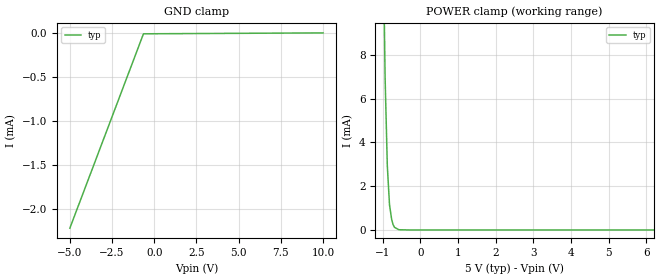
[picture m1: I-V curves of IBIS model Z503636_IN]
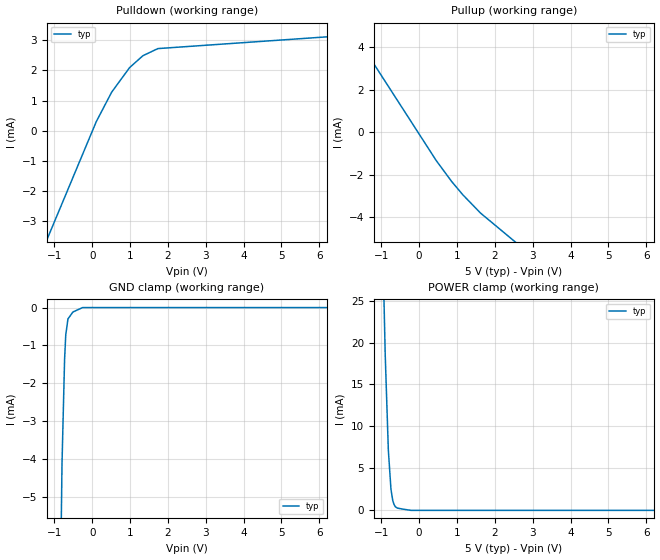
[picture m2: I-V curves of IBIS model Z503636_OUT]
| YOU ARE ONLY AUTHORIZED TO USE THIS SOFTWARE
| ACCORDING TO LICENSOR'S LICENSE RESTRICTIONS.
[IBIS Ver] 3.1
[File Name] mc14520bcl.ibs
[File Rev] 2.0
[Source] Measured and created by ICX Technology
[Date] Friday 7/14/00 9:07:56 AM
[Copyright]
| (C) COPYRIGHT 1993-2000
| MENTOR GRAPHICS CORPORATION
| ICX STANDARD LIBRARY, ICX PROJECT MODELING,
| ICX CUSTOM MODELING, ICX VENDOR MODEL
| ALL RIGHTS RESERVED.
| THE FOLLOWING ARE TRADEMARKS OR SERVICE MARKS OF
| MENTOR GRAPHICS CORPORATION:ICX (R), ICX STANDARD
| LIBRARY(R), ICX PROJECT MODELING(R), ICX CUSTOM
| MODELING(R), qualityIBIS(TM), MODELVIEWER(TM),
| AND MODELEDITOR(TM)
| ALL COPIES OF SOFTWARE, INCLUDING BUT NOT LIMITED TO
| ANY MODIFICATIONS, ENHANCEMENTS OR DERIVATIVE WORKS,
| MUST CONTAIN ALL MENTOR GRAPHICS CORPORATION'S
| NOTICES AND LEGENDS, INCLUDING THOSE EMBEDDED IN
| SOFTWARE AND THOSE AFFIXED TO SOFTWARE MEDIUM
| AND CONTAINER, AS RECEIVED FROM MENTOR GRAPHICS
| CORPORATION.
|  ZAP Model Builder 2.7
[Component] MC14520BCL
[Manufacturer] OnSemiconductor
[Package]
| variable   typ   min   max
R_pkg  .212ohms NA NA
L_pkg  4.758nH NA NA
C_pkg  1.944pF NA NA
[Pin] signal_name  model_name  R_pin  L_pin C_pin
1 Q2 Z503636_IN .224 7.258n 2.683p
2 RESET Z503636_IN .216 5.258n 2.19p
3 VSS Z503636_OUT .208 3.758n 1.697p
4 OUT2 Z503636_OUT .2 2.758n 1.204p
5 VDD Z503636_OUT .2 2.758n 1.204p
6 IN2 Z503636_OUT .208 3.758n 1.697p
7 OUT1 Z503636_IN .216 5.258n 2.19p
8 VSS POWER .224 7.258n 2.683p
9 IN1 Z503636_IN .224 7.258n 2.683p
10 Q8 Z503636_IN .216 5.258n 2.19p
11 Q9 Z503636_OUT .208 3.758n 1.697p
12 Q0 Z503636_OUT .2 2.758n 1.204p
13 Q1 Z503636_OUT .2 2.758n 1.204p
14 Q2 Z503636_OUT .208 3.758n 1.697p
15 Q3 Z503636_IN .216 5.258n 2.19p
16 VDD POWER .224 7.258n 2.683p
| Models and submodels in the file (2): Z503636_IN (Input), Z503636_OUT (Output)
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| (C) COPYRIGHT 1993-2000
| MENTOR GRAPHICS CORPORATION
| ICX STANDARD LIBRARY, ICX PROJECT MODELING,
| ICX CUSTOM MODELING, ICX VENDOR MODEL
| ALL RIGHTS RESERVED.
| THE FOLLOWING ARE TRADEMARKS OR SERVICE MARKS OF
| MENTOR GRAPHICS CORPORATION:ICX (R), ICX STANDARD
| LIBRARY(R), ICX PROJECT MODELING(R), ICX CUSTOM
| MODELING(R), qualityIBIS(TM), MODELVIEWER(TM),
| AND MODELEDITOR(TM)
| ALL COPIES OF SOFTWARE, INCLUDING BUT NOT LIMITED TO
| ANY MODIFICATIONS, ENHANCEMENTS OR DERIVATIVE WORKS,
| MUST CONTAIN ALL MENTOR GRAPHICS CORPORATION'S
| NOTICES AND LEGENDS, INCLUDING THOSE EMBEDDED IN
| SOFTWARE AND THOSE AFFIXED TO SOFTWARE MEDIUM
| AND CONTAINER, AS RECEIVED FROM MENTOR GRAPHICS
| CORPORATION.
| Model Application Version 1.89 2/18/99.
[Model] Z503636_IN
Model_type Input
Vinl = 1.500V
Vinh = 3.500V
C_comp 4.000pF NA NA
| variable typ   min   max
[Voltage Range] 5.000V NA NA
[GND Clamp Reference] 0.000V NA NA
[POWER Clamp Reference] 5.000V NA NA
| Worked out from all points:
|   POWER clamp passes 1 mA (typ) near -0.81 V on its own axis
[GND Clamp]
-5V       -2.222mA   NA         NA
-639.5mV  -11.77uA   NA         NA
10V       -1.359uA   NA         NA
[POWER Clamp]
-5V       526.8mA    NA         NA
-938mV    6.994mA    NA         NA
-879mV    2.94mA     NA         NA
-820mV    1.141mA    NA         NA
-762mV    472.1uA    NA         NA
-725mV    242.2uA    NA         NA
-688mV    119.9uA    NA         NA
-572mV    11.04uA    NA         NA
-286mV    0A         NA         NA
10V       0A         NA         NA
| (C) COPYRIGHT 1993-2000
| MENTOR GRAPHICS CORPORATION
| ICX STANDARD LIBRARY, ICX PROJECT MODELING,
| ICX CUSTOM MODELING, ICX VENDOR MODEL
| ALL RIGHTS RESERVED.
| THE FOLLOWING ARE TRADEMARKS OR SERVICE MARKS OF
| MENTOR GRAPHICS CORPORATION:ICX (R), ICX STANDARD
| LIBRARY(R), ICX PROJECT MODELING(R), ICX CUSTOM
| MODELING(R), qualityIBIS(TM), MODELVIEWER(TM),
| AND MODELEDITOR(TM)
| ALL COPIES OF SOFTWARE, INCLUDING BUT NOT LIMITED TO
| ANY MODIFICATIONS, ENHANCEMENTS OR DERIVATIVE WORKS,
| MUST CONTAIN ALL MENTOR GRAPHICS CORPORATION'S
| NOTICES AND LEGENDS, INCLUDING THOSE EMBEDDED IN
| SOFTWARE AND THOSE AFFIXED TO SOFTWARE MEDIUM
| AND CONTAINER, AS RECEIVED FROM MENTOR GRAPHICS
| CORPORATION.
| Model Application Version 1.89 2/18/99.
[Model] Z503636_OUT
Model_type Output
Vref=0.000V
Rref=500.0Mohms
Cref=50.00pF
Vmeas=2.500V
C_comp 8.000pF NA NA
| variable typ   min   max
[Voltage Range] 5.000V NA NA
[POWER Clamp Reference] 5.000V NA NA
[Pullup Reference] 5.000V NA NA
[Pulldown Reference] 0.000V NA NA
[GND Clamp Reference] 0.000V NA NA
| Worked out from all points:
|   slope of the pulldown table from 0 to 0.75 V, typ, clamps not added: 441 ohm
|   slope of the pullup table from 0 to 0.75 V, typ, clamps not added: 380 ohm
|   GND clamp passes 1 mA (typ) near -0.71 V on its own axis
|   POWER clamp passes 1 mA (typ) near -0.69 V on its own axis
[GND Clamp]
-5V       -335.4mA   NA         NA
-800.7mV  -4.122mA   NA         NA
-732.4mV  -1.362mA   NA         NA
-701.7mV  -725.2uA   NA         NA
-643.9mV  -300.8uA   NA         NA
-512.7mV  -116.9uA   NA         NA
-256.4mV  0A         NA         NA
10V       0A         NA         NA
[Pulldown]
-5V       -15.03mA   NA         NA
103.7mV   295.4uA    NA         NA
512.8mV   1.279mA    NA         NA
986.3mV   2.092mA    NA         NA
1.338V    2.486mA    NA         NA
1.734V    2.722mA    NA         NA
10V       3.443mA    NA         NA
[Pullup]
-5V       13.73mA    NA         NA
451mV     -1.343mA   NA         NA
859mV     -2.331mA   NA         NA
1.153V    -2.955mA   NA         NA
1.622V    -3.819mA   NA         NA
10V       -16.24mA   NA         NA
[POWER Clamp]
-5V       840.9mA    NA         NA
-898mV    18.59mA    NA         NA
-815mV    7.182mA    NA         NA
-746mV    2.518mA    NA         NA
-698mV    1.166mA    NA         NA
-664mV    693.2uA    NA         NA
-630mV    432.2uA    NA         NA
-576mV    269.6uA    NA         NA
-439mV    154.5uA    NA         NA
-219.5mV  0A         NA         NA
10V       0A         NA         NA
[Ramp]
| variable typ min max
dV/dt_r 2.625/12.89n NA NA
dV/dt_f 2.625/15.73n NA NA
R_load = 2.500kOhms
